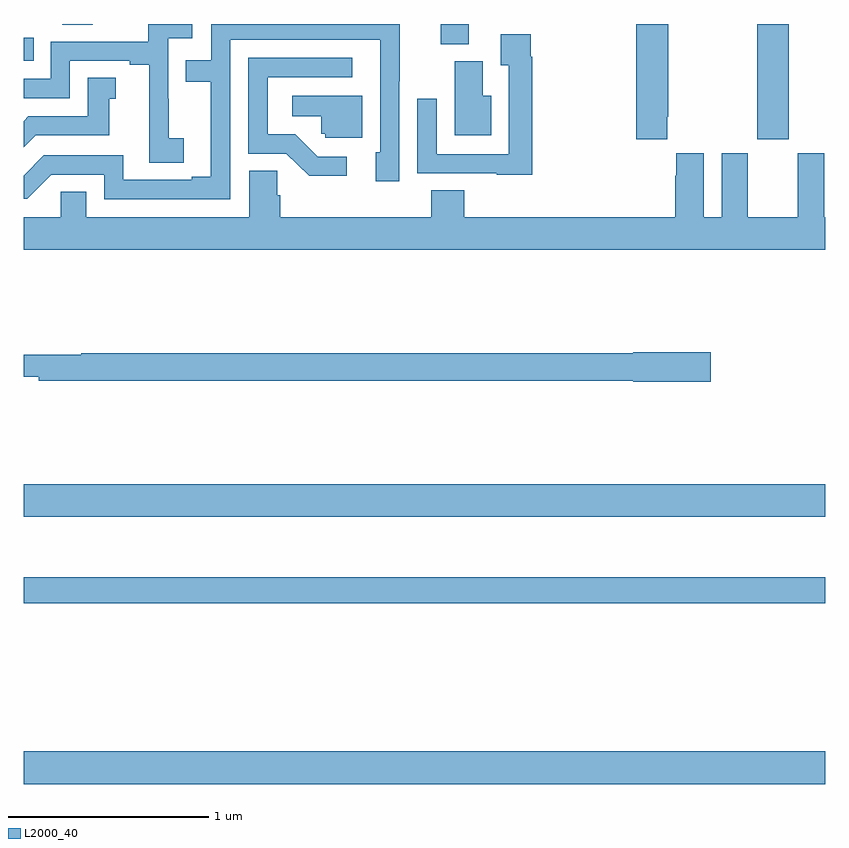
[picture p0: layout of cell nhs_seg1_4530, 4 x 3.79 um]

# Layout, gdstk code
import gdstk
lib = gdstk.Library(unit=1e-6, precision=1e-09)
def R(c, l, rs):  # rectangles x0, y0, x1, y1
    for r in rs: c.add(gdstk.rectangle(r[:2], r[2:], *l))
def P(c, l, *ps):  # polygons
    for p in ps: c.add(gdstk.Polygon(p, *l))
L2000_40 = (2000, 40)

nhs_seg1_4530 = lib.new_cell('nhs_seg1_4530')
R(nhs_seg1_4530, L2000_40, [(357,542.408,361,542.572), (357,543.31,361,543.439), (357,543.74,361,543.904), (360.661,545.625,360.816,546.199), (357,546.015,357.05,546.13), (359.081,546.097,359.221,546.199), (357.194,546.196,357.346,546.199)])
P(nhs_seg1_4530, L2000_40, [(360.211,545.737),(360.216,545.737),(360.216,546.199),(360.056,546.199),(360.056,545.625),(360.211,545.625)],
  [(358.032,546.12),(358.779,546.12),(358.779,545.559),(358.757,545.559),(358.757,545.415),(358.875,545.415),(358.875,545.914),(358.877,545.914),(358.877,546.199),(357.936,546.199),(357.936,546.018),(357.808,546.018),(357.808,545.91),(357.935,545.91),(357.935,545.436),(357.839,545.436),(357.839,545.421),(357.498,545.421),(357.498,545.544),(357.102,545.544),(357,545.442),(357,545.328),(357.018,545.328),(357.138,545.448),(357.402,545.448),(357.402,545.325),(358.032,545.325)],
  [(357.799,545.628),(357.725,545.628),(357.725,545.825),(357.723,545.825),(357.723,546.129),(357.841,546.129),(357.841,546.199),(357.622,546.199),(357.622,546.111),(357.135,546.111),(357.135,545.925),(357,545.925),(357,545.829),(357.231,545.829),(357.231,546.015),(357.53,546.015),(357.53,545.995),(357.626,545.995),(357.626,545.617),(357.628,545.617),(357.628,545.506),(357.799,545.506)],
  [(359.537,546.035),(359.53,546.035),(359.53,546.148),(359.381,546.148),(359.381,545.992),(359.421,545.992),(359.421,545.55),(359.061,545.55),(359.061,545.827),(358.965,545.827),(358.965,545.454),(359.361,545.454),(359.361,545.447),(359.537,545.447)],
  [(358.612,545.538),(358.467,545.538),(358.356,545.649),(358.218,545.649),(358.218,545.934),(358.639,545.934),(358.639,546.03),(358.122,546.03),(358.122,545.553),(358.311,545.553),(358.424,545.441),(358.612,545.441)],
  [(359.332,545.842),(359.29,545.842),(359.29,546.012),(359.15,546.012),(359.15,545.645),(359.332,545.645)],
  [(357.06,545.643),(357.427,545.643),(357.427,545.827),(357.46,545.827),(357.46,545.93),(357.32,545.93),(357.32,545.739),(357.024,545.739),(357,545.715),(357,545.583)],
  [(358.69,545.842),(358.341,545.842),(358.341,545.738),(358.485,545.738),(358.485,545.652),(358.506,545.652),(358.506,545.631),(358.69,545.631)],
  [(361,545.236),(360.994,545.236),(360.994,545.554),(360.863,545.554),(360.863,545.236),(360.613,545.236),(360.613,545.554),(360.482,545.554),(360.482,545.236),(360.394,545.236),(360.394,545.554),(360.257,545.554),(360.257,545.441),(360.251,545.441),(360.251,545.236),(359.198,545.236),(359.198,545.369),(359.033,545.369),(359.033,545.236),(358.28,545.236),(358.28,545.345),(358.266,545.345),(358.266,545.468),(358.127,545.468),(358.127,545.236),(357.313,545.236),(357.313,545.363),(357.186,545.363),(357.186,545.236),(357,545.236),(357,545.072),(361,545.072)],
  [(360.427,544.562),(360.042,544.562),(360.042,544.556),(357.287,544.556),(357.287,544.549),(357,544.549),(357,544.439),(357.076,544.439),(357.076,544.42),(360.042,544.42),(360.042,544.415),(360.427,544.415)])

lib.write_gds('nhs_seg1_4530.gds')
